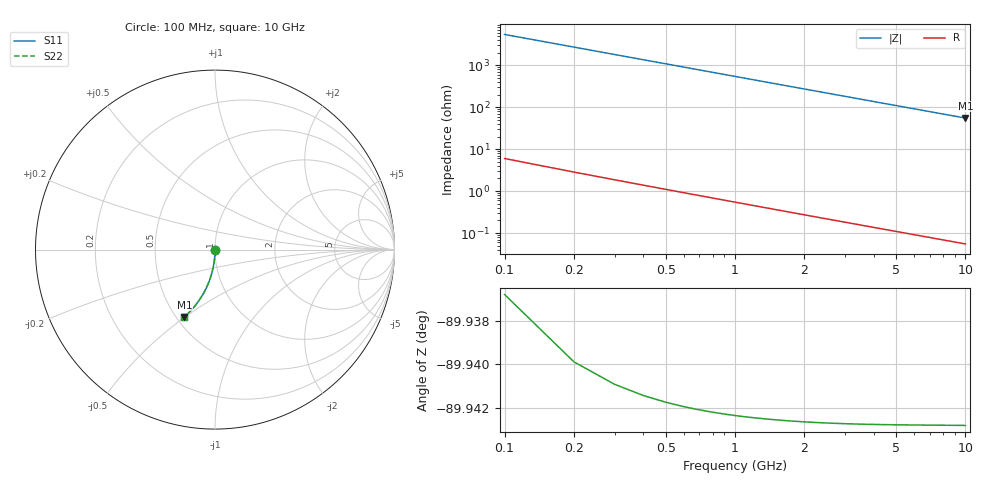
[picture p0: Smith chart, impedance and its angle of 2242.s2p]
# Hz S RI R 50.00
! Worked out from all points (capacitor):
!   100 points, 100 MHz to 10 GHz, reference 50 ohm
!   read as one part in shunt: C = 294 fF near 100 MHz
!   lowest |Z| = 55.1 ohm at 10 GHz (marker M1)
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1e8  -2.44e-05 -0.0046  1 -0.00463  1 -0.00463  -2.44e-05 -0.0046
2e8  -9.29e-05 -0.00921  0.9999 -0.00925  0.9999 -0.00925  -9.29e-05 -0.00921
3e8  -0.000204 -0.0138  0.9998 -0.0139  0.9998 -0.0139  -0.000204 -0.0138
4e8  -0.000357 -0.0184  0.9996 -0.0185  0.9996 -0.0185  -0.000357 -0.0184
5e8  -0.000553 -0.023  0.9994 -0.0231  0.9994 -0.0231  -0.000553 -0.023
6e8  -0.000791 -0.0276  0.9992 -0.0277  0.9992 -0.0277  -0.000791 -0.0276
7e8  -0.00107 -0.0322  0.9989 -0.0323  0.9989 -0.0323  -0.00107 -0.0322
8e8  -0.00139 -0.0368  0.9986 -0.0369  0.9986 -0.0369  -0.00139 -0.0368
9e8  -0.00176 -0.0413  0.9982 -0.0415  0.9982 -0.0415  -0.00176 -0.0413
1.1e9  -0.00261 -0.0504  0.9974 -0.0507  0.9974 -0.0507  -0.00261 -0.0504
1.4e9  -0.0042 -0.0641  0.9958 -0.0644  0.9958 -0.0644  -0.0042 -0.0641
1.8e9  -0.00689 -0.0821  0.9931 -0.0824  0.9931 -0.0824  -0.00689 -0.0821
2.1e9  -0.00933 -0.0954  0.9907 -0.0959  0.9907 -0.0959  -0.00933 -0.0954
2.5e9  -0.0131 -0.1131  0.9869 -0.1136  0.9869 -0.1136  -0.0131 -0.1131
2.9e9  -0.0175 -0.1304  0.9825 -0.1311  0.9825 -0.1311  -0.0175 -0.1304
3.4e9  -0.0239 -0.1518  0.9761 -0.1525  0.9761 -0.1525  -0.0239 -0.1518
4.2e9  -0.0358 -0.1848  0.9642 -0.1858  0.9642 -0.1858  -0.0358 -0.1848
5.1e9  -0.0517 -0.2203  0.9483 -0.2214  0.9483 -0.2214  -0.0517 -0.2203
5.9e9  -0.0678 -0.2502  0.9322 -0.2515  0.9322 -0.2515  -0.0678 -0.2502
6.7e9  -0.0854 -0.2783  0.9145 -0.2798  0.9145 -0.2798  -0.0854 -0.2783
8.4e9  -0.1274 -0.332  0.8726 -0.3339  0.8726 -0.3339  -0.1274 -0.332
1e10  -0.1709 -0.3748  0.8291 -0.377  0.8291 -0.377  -0.1709 -0.3748
